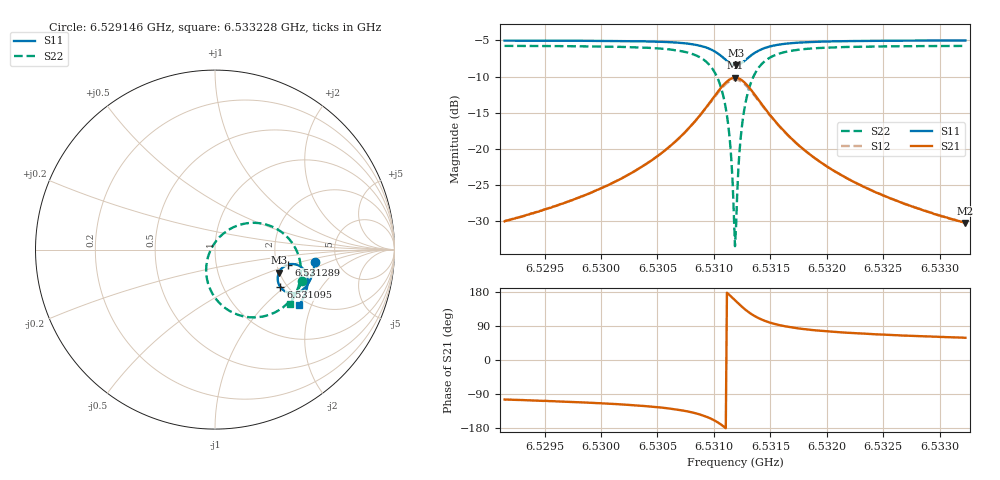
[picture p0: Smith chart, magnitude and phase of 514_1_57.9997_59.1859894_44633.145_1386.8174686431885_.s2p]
#  HZ  S  RI  R  50.00
! Rohde & Schwarz Vector Network Analyzer
! Rohde-Schwarz,ZNB20-2Port,1311601062101988,3.16
! Created: UTC 3/21/2024, 1:13:18 AM
! freq[Hz]  re:S11  im:S11  re:S21  im:S21  re:S12  im:S12  re:S22  im:S22
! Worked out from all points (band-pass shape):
!   401 points, 6.529146 GHz to 6.533228 GHz, reference 50 ohm
!   highest |S21| = -10.17 dB at 6.531187 GHz (marker M1); lowest = -30.3 dB at 6.533228 GHz (marker M2)
!   |S21| within 3 dB of the highest: 6.530984 GHz to 6.531393 GHz (408.4 kHz wide, 0.00625 % of centre)
!   lowest |S11| = -8.4 dB at 6.531197 GHz (marker M3), VSWR 2.22, Z = 99.2 - j29.9 ohm
!   |S11| at or under -10 dB: nowhere
!   |S22| runs from -33.5 to -5.7 dB; largest |S21 - S12| = 0.012
!   S11 on the Smith chart (normalised r, x): 6.529146 GHz: 3.40, -0.69; 6.531095 GHz: 1.84, -0.93; 6.531289 GHz: 2.32, -0.47; 6.533228 GHz: 1.82, -1.64
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6.5291465e9  0.5565 -0.0697  -0.00776 -0.0304  -0.00838 -0.0304  0.4858 -0.1739
6.5298301e9  0.5453 -0.1266  -0.0173 -0.0434  -0.0184 -0.0431  0.4543 -0.2374
6.5305136e9  0.5158 -0.1945  -0.0517 -0.0743  -0.0539 -0.0728  0.3718 -0.3271
6.5307483e9  0.4882 -0.224  -0.0919 -0.0933  -0.0948 -0.0902  0.2905 -0.3669
6.5309217e9  0.4438 -0.2425  -0.1609 -0.0991  -0.1631 -0.0926  0.1634 -0.3728
6.5310238e9  0.3988 -0.2364  -0.2309 -0.0718  -0.2298 -0.0622  0.045 -0.3164
6.5310952e9  0.3639 -0.2081  -0.282 -0.0124  -0.2759 -0.00261  -0.0322 -0.2079
6.531136e9  0.3512 -0.1797  -0.2977 0.0413  -0.2885 0.0492  -0.0494 -0.1163
6.5311768e9  0.3506 -0.1459  -0.2926 0.1025  -0.2815 0.1066  -0.0307 -0.0169
6.531187e9  0.3528 -0.1375  -0.2873 0.1172  -0.2763 0.1207  -0.02 0.00681
6.5311972e9  0.3558 -0.1291  -0.2808 0.1317  -0.2696 0.134  -0.00678 0.0293
6.5312074e9  0.3596 -0.1214  -0.2729 0.1453  -0.2618 0.1466  0.00835 0.0504
6.5312278e9  0.3696 -0.1074  -0.2533 0.1696  -0.2431 0.1691  0.0441 0.087
6.531238e9  0.3756 -0.1014  -0.2423 0.1799  -0.2325 0.1786  0.0638 0.1022
6.5312584e9  0.3886 -0.0918  -0.2181 0.1965  -0.2096 0.1942  0.1059 0.1261
6.531289e9  0.4094 -0.0831  -0.1809 0.2122  -0.174 0.2088  0.1703 0.1456
6.5313604e9  0.4531 -0.0836  -0.1044 0.2135  -0.1009 0.2103  0.2988 0.1354
6.5314625e9  0.4908 -0.1065  -0.0388 0.1814  -0.0372 0.1796  0.4055 0.0671
6.5316155e9  0.5122 -0.1433  0.000381 0.1338  0.00147 0.1331  0.4638 -0.0292
6.5318706e9  0.5167 -0.1872  0.0168 0.0871  0.0178 0.0869  0.4787 -0.1276
6.5325541e9  0.4973 -0.2577  0.0183 0.0417  0.0192 0.0415  0.4502 -0.2446
6.5332275e9  0.4707 -0.3081  0.0159 0.0262  0.0165 0.0259  0.4157 -0.3049
